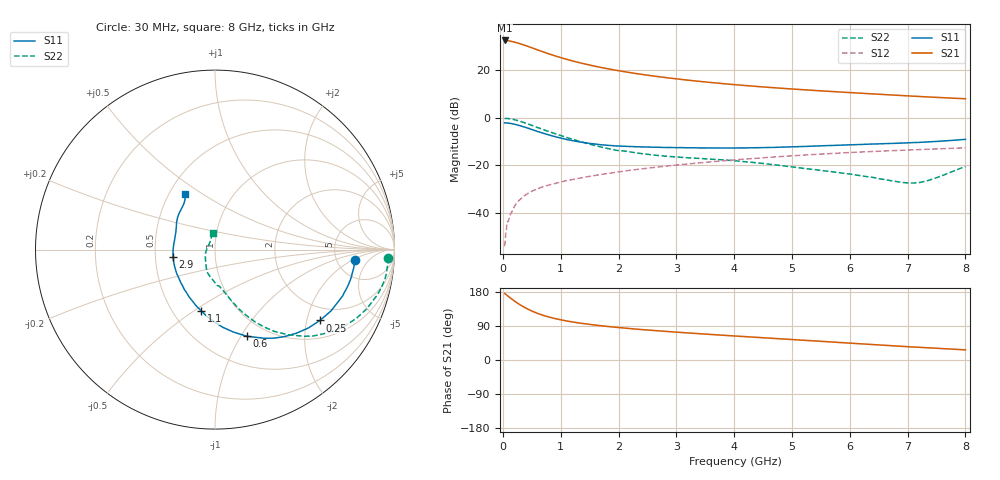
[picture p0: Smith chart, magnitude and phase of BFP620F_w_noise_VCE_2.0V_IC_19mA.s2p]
! Infineon Technologies  Discrete & RF Semiconductors
! BFP620F
! VCE =  2.0 V,  IC =  19 mA
! Common Emitter S-Parameters:  Dec 2014
# GHz  S  MA  R  50
!  f  S11  S21  S12  S22
! GHz  MAG  ANG  MAG  ANG  MAG  ANG  MAG  ANG
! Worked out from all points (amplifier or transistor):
!   95 points, 30 MHz to 8 GHz, reference 50 ohm
!   highest |S21| = 32.5 dB at 30 MHz (marker M1)
!   |S21| within 3 dB of that: start of sweep to 491.1 MHz
!   unconditionally stable (mu >= 1): 2.978 GHz to end of sweep
!   at 300 MHz: K = 0.29, MSG = 32.7 dB, |S12| = -34.3 dB
!   at 3.3 GHz: K = 1.01, MAG = 16.7 dB, |S12| = -19.2 dB
!   at 8 GHz: K = 1.07, MAG = 8.7 dB, |S12| = -12.6 dB
!   lowest NFmin = 0.81 dB at 450 MHz
!   S11 on the Smith chart (normalised r, x): 30 MHz: 7.46, -2.24; 250 MHz: 1.53, -2.41; 600 MHz: 0.81, -1.06; 1.1 GHz: 0.69, -0.53; 2.9 GHz: 0.62, -0.05; 8 GHz: 0.60, +0.43
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0.03  0.7812 -4.3  42.11 175.8  0.002 68.9  0.9648 -2.7
0.09  0.772 -12.9  41.51 168.4  0.0065 81.9  0.9614 -9.6
0.14  0.757 -19.9  40.37 162.4  0.01 77.3  0.9413 -15.0
0.2  0.7312 -27.8  38.85 155.7  0.0137 76.6  0.9085 -21.2
0.25  0.7057 -34.0  37.46 150.4  0.017 73.5  0.8767 -25.8
0.3  0.6794 -40.0  35.91 145.5  0.0192 71.8  0.841 -30.3
0.4  0.6213 -51.2  32.7 136.7  0.0243 67.4  0.7641 -37.9
0.5  0.5662 -60.8  29.54 129.3  0.0285 65.3  0.6929 -44.2
0.6  0.515 -69.7  26.68 123.0  0.0322 63.5  0.6236 -49.5
0.7  0.4714 -77.3  24.16 117.7  0.0357 62.1  0.5637 -54.0
0.8  0.434 -84.5  21.93 113.3  0.0387 61.2  0.5103 -57.6
0.9  0.4009 -90.9  20.03 109.4  0.0415 61.1  0.4635 -60.8
1.1  0.3496 -102.7  16.94 103.1  0.0477 60.1  0.3859 -66.0
1.4  0.3016 -118.3  13.67 96.0  0.0558 59.8  0.3015 -72.0
1.7  0.2705 -131.9  11.38 90.4  0.0643 59.3  0.2418 -77.5
2  0.2542 -143.9  9.749 85.7  0.0728 58.7  0.2037 -83.7
2.7  0.2393 -165.5  7.283 76.9  0.0925 56.5  0.1603 -96.9
2.9  0.237 -170.4  6.791 74.6  0.0984 55.8  0.1529 -100.0
4.1  0.2322 165.4  4.856 62.5  0.1327 50.3  0.122 -112.4
5.4  0.2542 147.8  3.742 50.2  0.1696 42.7  0.0812 -130.5
6.7  0.288 132.7  3.022 38.0  0.2025 34.1  0.0478 -177.1
8  0.3514 118.0  2.506 26.7  0.2333 25.7  0.0945 98.2
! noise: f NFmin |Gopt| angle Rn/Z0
0.45  0.81  0.06  3  0.21
0.9  0.87  0.06  11  0.18
1.5  0.92  0.06  12  0.14
1.8  0.94  0.05  14  0.14
1.9  0.95  0.03  31  0.16
2.4  0.98  0.02  68  0.15
3.5  1.06  0.03  160  0.14
5.5  1.2  0.14  227  0.1
6  1.23  0.14  248  0.14
